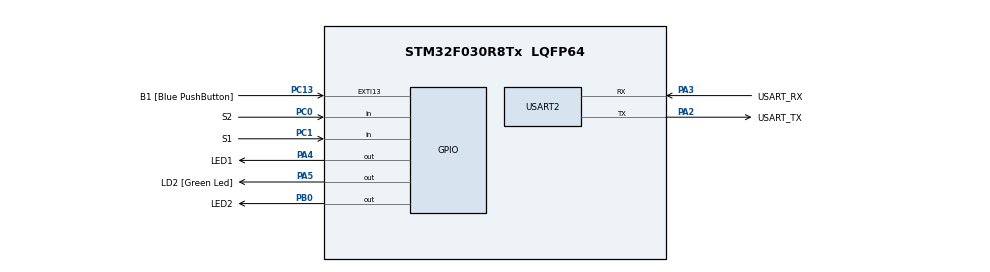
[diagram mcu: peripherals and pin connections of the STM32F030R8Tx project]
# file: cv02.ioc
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Mcu.Family=STM32F0
Mcu.Name=STM32F030R8Tx
Mcu.Package=LQFP64
PA13.GPIO_Label=TMS
PA13.Mode=Serial_Wire
PA13.Signal=SYS_SWDIO
PA14.GPIO_Label=TCK
PA14.Mode=Serial_Wire
PA14.Signal=SYS_SWCLK
PA2.GPIO_Label=USART_TX
PA2.GPIO_Mode=GPIO_MODE_AF_PP
PA2.GPIO_PuPd=GPIO_NOPULL
PA2.GPIO_Speed=GPIO_SPEED_FREQ_LOW
PA2.Mode=Asynchronous
PA2.Signal=USART2_TX
PA3.GPIO_Label=USART_RX
PA3.GPIO_Mode=GPIO_MODE_AF_PP
PA3.GPIO_PuPd=GPIO_NOPULL
PA3.GPIO_Speed=GPIO_SPEED_FREQ_LOW
PA3.Mode=Asynchronous
PA3.Signal=USART2_RX
PA4.GPIO_Label=LED1
PA4.Signal=GPIO_Output
PA5.GPIO_Label=LD2 [Green Led]
PA5.GPIO_Mode=GPIO_MODE_OUTPUT_PP
PA5.GPIO_PuPd=GPIO_NOPULL
PA5.GPIO_Speed=GPIO_SPEED_FREQ_LOW
PA5.Signal=GPIO_Output
PB0.GPIO_Label=LED2
PB0.Signal=GPIO_Output
PC0.GPIO_Label=S2
PC0.GPIO_PuPd=GPIO_PULLUP
PC0.Signal=GPIO_Input
PC1.GPIO_Label=S1
PC1.GPIO_PuPd=GPIO_PULLUP
PC1.Signal=GPIO_Input
PC13.GPIO_Label=B1 [Blue PushButton]
PC13.GPIO_ModeDefaultEXTI=GPIO_MODE_IT_FALLING
PC13.Signal=GPXTI13
PC14-OSC32_IN.Mode=LSE-External-Oscillator
PC14-OSC32_IN.Signal=RCC_OSC32_IN
PC15-OSC32_OUT.Mode=LSE-External-Oscillator
PC15-OSC32_OUT.Signal=RCC_OSC32_OUT
PF0-OSC_IN.Mode=HSE-External-Clock-Source
PF0-OSC_IN.Signal=RCC_OSC_IN
PF1-OSC_OUT.Signal=RCC_OSC_OUT
ProjectManager.HeapSize=0x200
ProjectManager.StackSize=0x400
ProjectManager.TargetToolchain=STM32CubeIDE
RCC.AHBFreq_Value=48000000
RCC.APB1Freq_Value=48000000
RCC.APB1TimFreq_Value=48000000
RCC.HCLKFreq_Value=48000000
RCC.PLLMUL=RCC_PLL_MUL12
RCC.SYSCLKFreq_VALUE=48000000
RCC.SYSCLKSource=RCC_SYSCLKSOURCE_PLLCLK
USART2.VirtualMode-Asynchronous=VM_ASYNC
board=NUCLEO-F030R8

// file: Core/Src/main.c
/* USER CODE BEGIN Header */
/**
  ******************************************************************************
  * @file           : main.c
  * @brief          : Main program body
  ******************************************************************************
  * @attention
  *
  * Copyright (c) 2023 STMicroelectronics.
  * All rights reserved.
  *
  * This software is licensed under terms that can be found in the LICENSE file
  * in the root directory of this software component.
  * If no LICENSE file comes with this software, it is provided AS-IS.
  *
  ******************************************************************************
  */
/* USER CODE END Header */
#include "main.h"

/* USER CODE BEGIN PD */
#define LED_TIME_BLINK 300
#define LED_TIME_SHORT 100
#define LED_TIME_LONG  1000
/* USER CODE END PD */

void SystemClock_Config(void);
static void MX_GPIO_Init(void);
static void MX_USART2_UART_Init(void);
/* USER CODE BEGIN PFP */
void blikac(void);
void tlacitka(void);
/* USER CODE END PFP */

/* USER CODE BEGIN 0 */
volatile uint32_t Tick;
/* USER CODE END 0 */

int main(void)
{

  /* MCU Configuration--------------------------------------------------------*/

  /* Reset of all peripherals, Initializes the Flash interface and the Systick. */
  LL_APB1_GRP2_EnableClock(LL_APB1_GRP2_PERIPH_SYSCFG);
  LL_APB1_GRP1_EnableClock(LL_APB1_GRP1_PERIPH_PWR);

  /* Configure the system clock */
  SystemClock_Config();

  /* Initialize all configured peripherals */
  MX_GPIO_Init();
  MX_USART2_UART_Init();
  /* USER CODE BEGIN 2 */
  LL_SYSTICK_EnableIT();
  /* USER CODE END 2 */

  /* Infinite loop */
  /* USER CODE BEGIN WHILE */
  while (1)
  {
	  blikac();
	  tlacitka();
    /* USER CODE END WHILE */

  }
}

void SystemClock_Config(void)
{
  LL_FLASH_SetLatency(LL_FLASH_LATENCY_1);
  while(LL_FLASH_GetLatency() != LL_FLASH_LATENCY_1)
  {
  }
  LL_RCC_HSI_Enable();

   /* Wait till HSI is ready */
  while(LL_RCC_HSI_IsReady() != 1)
  {

  }
  LL_RCC_HSI_SetCalibTrimming(16);
  LL_RCC_PLL_ConfigDomain_SYS(LL_RCC_PLLSOURCE_HSI_DIV_2, LL_RCC_PLL_MUL_12);
  LL_RCC_PLL_Enable();

   /* Wait till PLL is ready */
  while(LL_RCC_PLL_IsReady() != 1)
  {

  }
  LL_RCC_SetAHBPrescaler(LL_RCC_SYSCLK_DIV_1);
  LL_RCC_SetAPB1Prescaler(LL_RCC_APB1_DIV_1);
  LL_RCC_SetSysClkSource(LL_RCC_SYS_CLKSOURCE_PLL);

   /* Wait till System clock is ready */
  while(LL_RCC_GetSysClkSource() != LL_RCC_SYS_CLKSOURCE_STATUS_PLL)
  {

  }
  LL_Init1msTick(48000000);
  LL_SetSystemCoreClock(48000000);
}

static void MX_USART2_UART_Init(void)
{

  LL_USART_InitTypeDef USART_InitStruct = {0};

  LL_GPIO_InitTypeDef GPIO_InitStruct = {0};

  /* Peripheral clock enable */
  LL_APB1_GRP1_EnableClock(LL_APB1_GRP1_PERIPH_USART2);

  LL_AHB1_GRP1_EnableClock(LL_AHB1_GRP1_PERIPH_GPIOA);
  /**USART2 GPIO Configuration
  PA2   ------> USART2_TX
  PA3   ------> USART2_RX
  */
  GPIO_InitStruct.Pin = USART_TX_Pin;
  GPIO_InitStruct.Mode = LL_GPIO_MODE_ALTERNATE;
  GPIO_InitStruct.Speed = LL_GPIO_SPEED_FREQ_LOW;
  GPIO_InitStruct.OutputType = LL_GPIO_OUTPUT_PUSHPULL;
  GPIO_InitStruct.Pull = LL_GPIO_PULL_NO;
  GPIO_InitStruct.Alternate = LL_GPIO_AF_1;
  LL_GPIO_Init(USART_TX_GPIO_Port, &GPIO_InitStruct);

  GPIO_InitStruct.Pin = USART_RX_Pin;
  GPIO_InitStruct.Mode = LL_GPIO_MODE_ALTERNATE;
  GPIO_InitStruct.Speed = LL_GPIO_SPEED_FREQ_LOW;
  GPIO_InitStruct.OutputType = LL_GPIO_OUTPUT_PUSHPULL;
  GPIO_InitStruct.Pull = LL_GPIO_PULL_NO;
  GPIO_InitStruct.Alternate = LL_GPIO_AF_1;
  LL_GPIO_Init(USART_RX_GPIO_Port, &GPIO_InitStruct);

  USART_InitStruct.BaudRate = 38400;
  USART_InitStruct.DataWidth = LL_USART_DATAWIDTH_8B;
  USART_InitStruct.StopBits = LL_USART_STOPBITS_1;
  USART_InitStruct.Parity = LL_USART_PARITY_NONE;
  USART_InitStruct.TransferDirection = LL_USART_DIRECTION_TX_RX;
  USART_InitStruct.HardwareFlowControl = LL_USART_HWCONTROL_NONE;
  USART_InitStruct.OverSampling = LL_USART_OVERSAMPLING_16;
  LL_USART_Init(USART2, &USART_InitStruct);
  LL_USART_DisableIT_CTS(USART2);
  LL_USART_ConfigAsyncMode(USART2);
  LL_USART_Enable(USART2);

}

static void MX_GPIO_Init(void)
{
  LL_EXTI_InitTypeDef EXTI_InitStruct = {0};
  LL_GPIO_InitTypeDef GPIO_InitStruct = {0};

  /* GPIO Ports Clock Enable */
  LL_AHB1_GRP1_EnableClock(LL_AHB1_GRP1_PERIPH_GPIOC);
  LL_AHB1_GRP1_EnableClock(LL_AHB1_GRP1_PERIPH_GPIOF);
  LL_AHB1_GRP1_EnableClock(LL_AHB1_GRP1_PERIPH_GPIOA);
  LL_AHB1_GRP1_EnableClock(LL_AHB1_GRP1_PERIPH_GPIOB);

  /**/
  LL_GPIO_ResetOutputPin(LED1_GPIO_Port, LED1_Pin);

  /**/
  LL_GPIO_ResetOutputPin(LD2_GPIO_Port, LD2_Pin);

  /**/
  LL_GPIO_ResetOutputPin(LED2_GPIO_Port, LED2_Pin);

  /**/
  LL_SYSCFG_SetEXTISource(LL_SYSCFG_EXTI_PORTC, LL_SYSCFG_EXTI_LINE13);

  /**/
  LL_GPIO_SetPinPull(B1_GPIO_Port, B1_Pin, LL_GPIO_PULL_NO);

  /**/
  LL_GPIO_SetPinMode(B1_GPIO_Port, B1_Pin, LL_GPIO_MODE_INPUT);

  /**/
  EXTI_InitStruct.Line_0_31 = LL_EXTI_LINE_13;
  EXTI_InitStruct.LineCommand = ENABLE;
  EXTI_InitStruct.Mode = LL_EXTI_MODE_IT;
  EXTI_InitStruct.Trigger = LL_EXTI_TRIGGER_FALLING;
  LL_EXTI_Init(&EXTI_InitStruct);

  /**/
  GPIO_InitStruct.Pin = S2_Pin;
  GPIO_InitStruct.Mode = LL_GPIO_MODE_INPUT;
  GPIO_InitStruct.Pull = LL_GPIO_PULL_UP;
  LL_GPIO_Init(S2_GPIO_Port, &GPIO_InitStruct);

  /**/
  GPIO_InitStruct.Pin = S1_Pin;
  GPIO_InitStruct.Mode = LL_GPIO_MODE_INPUT;
  GPIO_InitStruct.Pull = LL_GPIO_PULL_UP;
  LL_GPIO_Init(S1_GPIO_Port, &GPIO_InitStruct);

  /**/
  GPIO_InitStruct.Pin = LED1_Pin;
  GPIO_InitStruct.Mode = LL_GPIO_MODE_OUTPUT;
  GPIO_InitStruct.Speed = LL_GPIO_SPEED_FREQ_LOW;
  GPIO_InitStruct.OutputType = LL_GPIO_OUTPUT_PUSHPULL;
  GPIO_InitStruct.Pull = LL_GPIO_PULL_NO;
  LL_GPIO_Init(LED1_GPIO_Port, &GPIO_InitStruct);

  /**/
  GPIO_InitStruct.Pin = LD2_Pin;
  GPIO_InitStruct.Mode = LL_GPIO_MODE_OUTPUT;
  GPIO_InitStruct.Speed = LL_GPIO_SPEED_FREQ_LOW;
  GPIO_InitStruct.OutputType = LL_GPIO_OUTPUT_PUSHPULL;
  GPIO_InitStruct.Pull = LL_GPIO_PULL_NO;
  LL_GPIO_Init(LD2_GPIO_Port, &GPIO_InitStruct);

  /**/
  GPIO_InitStruct.Pin = LED2_Pin;
  GPIO_InitStruct.Mode = LL_GPIO_MODE_OUTPUT;
  GPIO_InitStruct.Speed = LL_GPIO_SPEED_FREQ_LOW;
  GPIO_InitStruct.OutputType = LL_GPIO_OUTPUT_PUSHPULL;
  GPIO_InitStruct.Pull = LL_GPIO_PULL_NO;
  LL_GPIO_Init(LED2_GPIO_Port, &GPIO_InitStruct);

}

/* USER CODE BEGIN 4 */
void blikac(void)
{
	static uint32_t delay;

	if (Tick > delay + LED_TIME_BLINK)
	{
		LL_GPIO_TogglePin(LED1_GPIO_Port, LED1_Pin);
		delay = Tick;
	}
}

void tlacitka(void)
{
	static uint32_t delay2;
	static uint32_t off_time;
	static uint16_t debounceS1 = 0xFFFF;
	static uint16_t debounceS2 = 0xFFFF;

	if (Tick > delay2 + 5)
		{
			debounceS1 <<= 1;
			debounceS2 <<= 1;
			if(LL_GPIO_IsInputPinSet(S1_GPIO_Port, S1_Pin) == 0) debounceS1 |= 0x0001;
			if(LL_GPIO_IsInputPinSet(S2_GPIO_Port, S2_Pin) == 0) debounceS2 |= 0x0001;

			if(debounceS1 == 0x8000)
			{
				off_time = Tick + LED_TIME_LONG;
				LL_GPIO_SetOutputPin(LED2_GPIO_Port, LED2_Pin);
			}

			if(debounceS2 == 0x7FFF)
			{
				off_time = Tick + LED_TIME_SHORT;
				LL_GPIO_SetOutputPin(LED2_GPIO_Port, LED2_Pin);
			}

			delay2 = Tick;
		}

	if (Tick > off_time)
		{
			LL_GPIO_ResetOutputPin(LED2_GPIO_Port, LED2_Pin);
		}
}
/* USER CODE END 4 */

void Error_Handler(void)
{
  __disable_irq();
  while (1)
  {
  }
}
